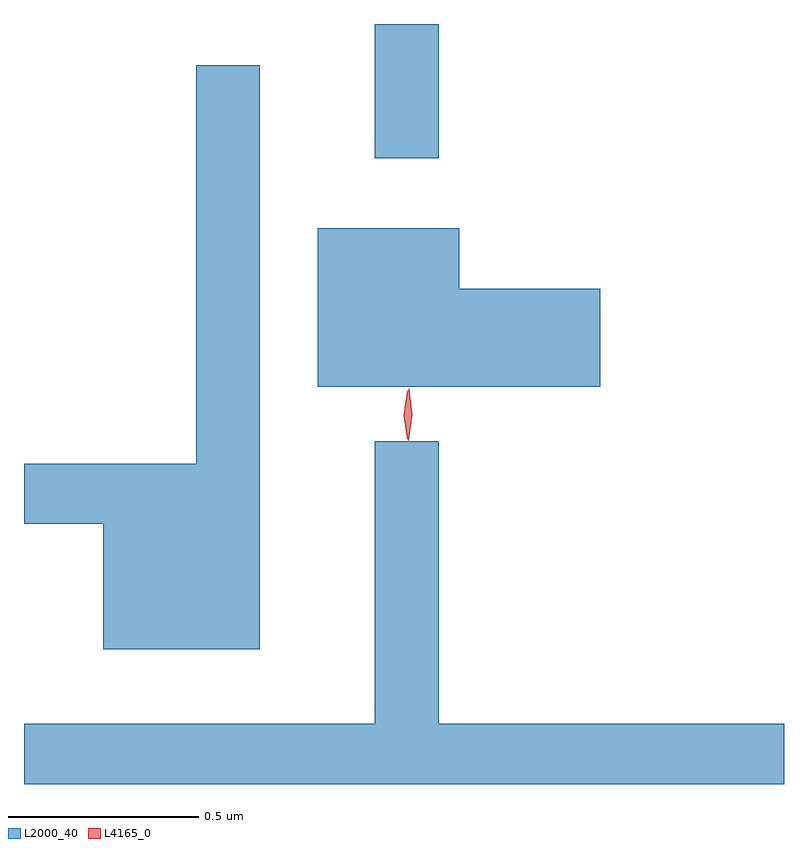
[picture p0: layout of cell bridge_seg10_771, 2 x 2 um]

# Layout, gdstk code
import gdstk
lib = gdstk.Library(unit=1e-6, precision=1e-09)
def R(c, l, rs):  # rectangles x0, y0, x1, y1
    for r in rs: c.add(gdstk.rectangle(r[:2], r[2:], *l))
def P(c, l, *ps):  # polygons
    for p in ps: c.add(gdstk.Polygon(p, *l))
L2000_40 = (2000, 40)
L4165_0 = (4165, 0)

bridge_seg10_771 = lib.new_cell('bridge_seg10_771')
R(bridge_seg10_771, L2000_40, [(512.751,2151.193,512.919,2151.546)])
P(bridge_seg10_771, L2000_40, [(512.449,2151.438),(512.281,2151.438),(512.281,2150.389),(511.828,2150.389),(511.828,2150.231),(512.036,2150.231),(512.036,2149.901),(512.449,2149.901)],
  [(513.344,2150.849),(512.974,2150.849),(512.974,2151.009),(512.601,2151.009),(512.601,2150.591),(513.344,2150.591)],
  [(513.828,2149.704),(512.919,2149.704),(512.919,2150.448),(512.751,2150.448),(512.751,2149.704),(511.828,2149.704),(511.828,2149.546),(513.828,2149.546)])
P(bridge_seg10_771, L4165_0, [(512.839,2150.45),(512.83,2150.518),(512.841,2150.586),(512.841,2150.586),(512.842,2150.586),(512.85,2150.518),(512.84,2150.45),(512.84,2150.45)],
  [(512.837,2150.453),(512.837,2150.454),(512.827,2150.516),(512.837,2150.579),(512.837,2150.58),(512.838,2150.579),(512.847,2150.516),(512.838,2150.454)])

lib.write_gds('bridge_seg10_771.gds')
